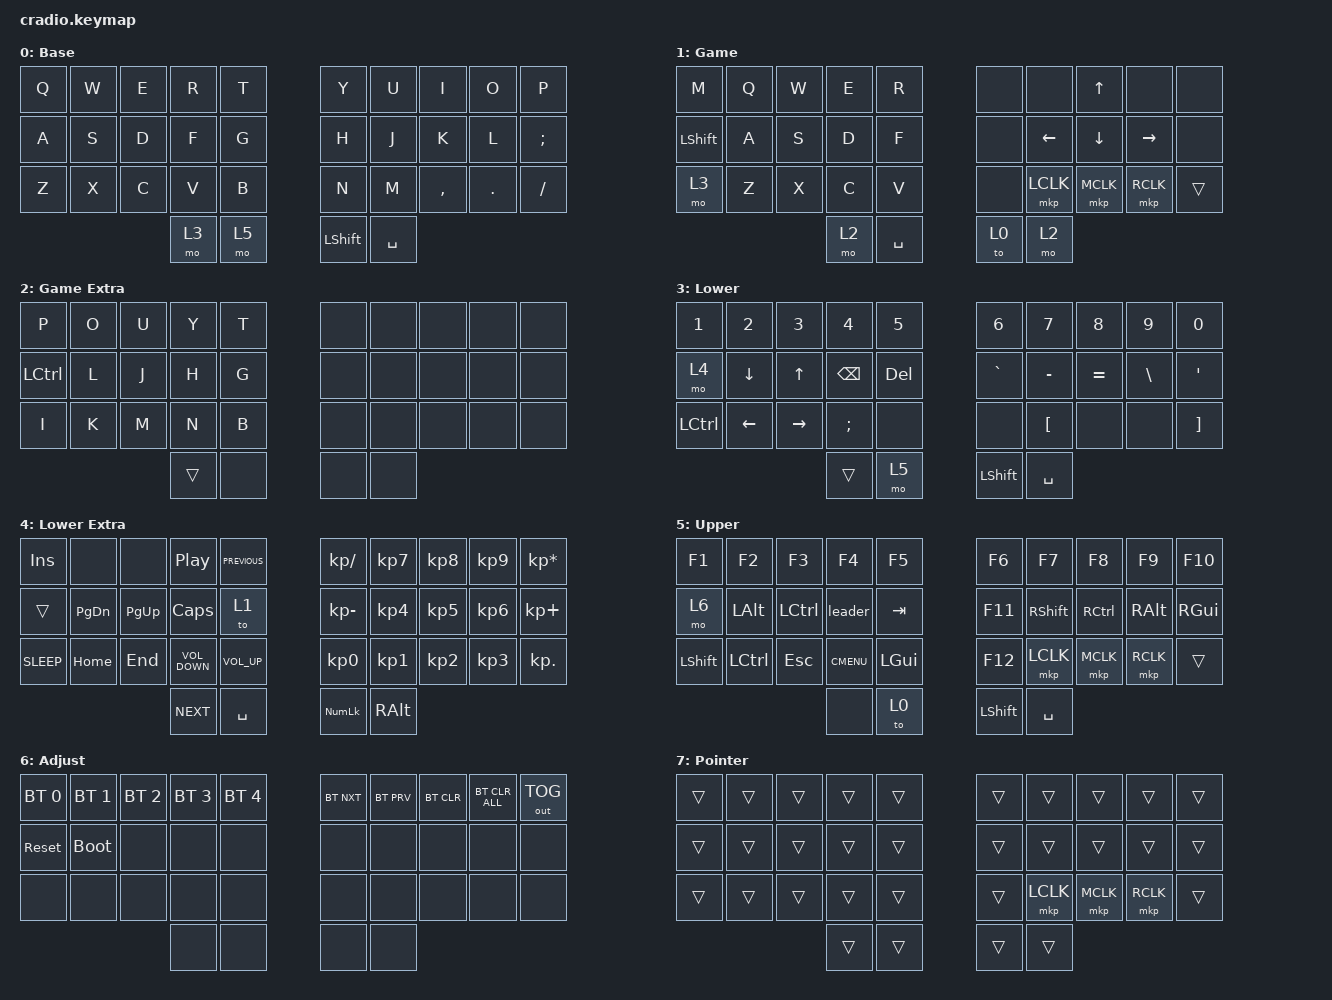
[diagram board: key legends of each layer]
// Copyright (c) 2022 The ZMK Contributors
// SPDX-License-Identifier: MIT
// Адаптировано под Charybdis (перенос с QMK keymap.c)
// + Leader Key

#include <behaviors.dtsi>
#include <dt-bindings/zmk/keys.h>
#include <dt-bindings/zmk/bt.h>
#include <dt-bindings/zmk/outputs.h>
#include <dt-bindings/zmk/pointing.h>

/ {
    // ==========================================================
    // МАКРОСЫ (для Leader Key)
    // ==========================================================
    macros {
        // Leader, V => Ctrl+C, Alt+Tab, Enter, Ctrl+V, Alt+Tab
        macro_copy_paste: macro_copy_paste {
            compatible = "zmk,behavior-macro";
            #binding-cells = <0>;
            bindings = <
                &kp LCTRL &kp C
                &kp LALT &kp TAB
                &kp ENTER
                &kp LCTRL &kp V
                &kp LALT &kp TAB
            >;
        };

        // Leader, D => Ctrl+S, Enter, Ctrl+W
        macro_save_close: macro_save_close {
            compatible = "zmk,behavior-macro";
            #binding-cells = <0>;
            bindings = <
                &kp LCTRL &kp S
                &kp ENTER
                &kp LCTRL &kp W
            >;
        };

        // Leader, S => Win+Space
        macro_lang_swap: macro_lang_swap {
            compatible = "zmk,behavior-macro";
            #binding-cells = <0>;
            bindings = <&kp LGUI &kp SPACE>;
        };
    };

    // ==========================================================
    // КОМБО
    // ==========================================================
    combos {
        compatible = "zmk,combos";

        // Цифры на LOWER (слой 3)
        combo_6 {
            timeout-ms = <50>;
            key-positions = <1 3>;
            layers = <3>;
            bindings = <&kp N6>;
        };
        combo_7 {
            timeout-ms = <50>;
            key-positions = <2 4>;
            layers = <3>;
            bindings = <&kp N7>;
        };
        combo_8 {
            timeout-ms = <50>;
            key-positions = <1 2>;
            layers = <3>;
            bindings = <&kp N8>;
        };
        combo_9 {
            timeout-ms = <50>;
            key-positions = <3 4>;
            layers = <3>;
            bindings = <&kp N9>;
        };
        combo_0 {
            timeout-ms = <50>;
            key-positions = <0 4>;
            layers = <3>;
            bindings = <&kp N0>;
        };

        // F-клавиши на UPPER (слой 5)
        combo_f6 {
            timeout-ms = <50>;
            key-positions = <1 3>;
            layers = <5>;
            bindings = <&kp F6>;
        };
        combo_f7 {
            timeout-ms = <50>;
            key-positions = <2 4>;
            layers = <5>;
            bindings = <&kp F7>;
        };
        combo_f8 {
            timeout-ms = <50>;
            key-positions = <1 2>;
            layers = <5>;
            bindings = <&kp F8>;
        };
        combo_f9 {
            timeout-ms = <50>;
            key-positions = <3 4>;
            layers = <5>;
            bindings = <&kp F9>;
        };
        combo_f10 {
            timeout-ms = <50>;
            key-positions = <0 4>;
            layers = <5>;
            bindings = <&kp F10>;
        };
        combo_f11 {
            timeout-ms = <50>;
            key-positions = <0 2>;
            layers = <5>;
            bindings = <&kp F11>;
        };
        combo_f12 {
            timeout-ms = <50>;
            key-positions = <0 1>;
            layers = <5>;
            bindings = <&kp F12>;
        };

        // Быстрый ADJUST на BASE (слой 0)
        combo_to_adjust {
            timeout-ms = <50>;
            key-positions = <33 34>;
            layers = <0>;
            bindings = <&mo 6>;
        };
    };

    // ==========================================================
    // KEYMAP
    // ==========================================================
    keymap {
        compatible = "zmk,keymap";

        base {
            display-name = "Base";
            bindings = <
                &kp Q  &kp W  &kp E  &kp R  &kp T    &kp Y  &kp U  &kp I  &kp O  &kp P
                &kp A  &kp S  &kp D  &kp F  &kp G    &kp H  &kp J  &kp K  &kp L  &kp SEMICOLON
                &kp Z  &kp X  &kp C  &kp V  &kp B    &kp N  &kp M  &kp COMMA  &kp DOT  &kp SLASH
                              &mo 3  &mo 5    &kp LSHFT  &kp SPACE
            >;
        };

        game {
            display-name = "Game";
            bindings = <
                &kp M  &kp Q  &kp W  &kp E  &kp R    &none  &none  &kp UP  &none  &none
                &kp LSHFT  &kp A  &kp S  &kp D  &kp F    &none  &kp LEFT  &kp DOWN  &kp RIGHT  &none
                &mo 3  &kp Z  &kp X  &kp C  &kp V    &none  &mkp LCLK  &mkp MCLK  &mkp RCLK  &trans
                              &mo 2  &kp SPACE    &to 0  &mo 2
            >;
        };

        game_extra {
            display-name = "Game Extra";
            bindings = <
                &kp P  &kp O  &kp U  &kp Y  &kp T    &none  &none  &none  &none  &none
                &kp LCTRL  &kp L  &kp J  &kp H  &kp G    &none  &none  &none  &none  &none
                &kp I  &kp K  &kp M  &kp N  &kp B    &none  &none  &none  &none  &none
                              &trans  &none    &none  &none
            >;
        };

        lower {
            display-name = "Lower";
            bindings = <
                &kp N1  &kp N2  &kp N3  &kp N4  &kp N5    &kp N6  &kp N7  &kp N8  &kp N9  &kp N0
                &mo 4  &kp DOWN  &kp UP  &kp BACKSPACE  &kp DELETE    &kp GRAVE  &kp MINUS  &kp EQUAL  &kp BACKSLASH  &kp SINGLE_QUOTE
                &kp LCTRL  &kp LEFT  &kp RIGHT  &kp SEMICOLON  &none    &none  &kp LBKT  &none  &none  &kp RBKT
                              &trans  &mo 5    &kp LSHFT  &kp SPACE
            >;
        };

        lower_extra {
            display-name = "Lower Extra";
            bindings = <
                &kp INSERT  &none  &none  &kp C_PLAY_PAUSE  &kp C_PREVIOUS    &kp KP_SLASH  &kp KP_N7  &kp KP_N8  &kp KP_N9  &kp KP_ASTERISK
                &trans  &kp PAGE_DOWN  &kp PAGE_UP  &kp CAPSLOCK  &to 1    &kp KP_MINUS  &kp KP_N4  &kp KP_N5  &kp KP_N6  &kp KP_PLUS
                &kp C_SLEEP  &kp HOME  &kp END  &kp C_VOLUME_DOWN  &kp C_VOLUME_UP    &kp KP_N0  &kp KP_N1  &kp KP_N2  &kp KP_N3  &kp KP_DOT
                              &kp C_NEXT  &kp SPACE    &kp KP_NUM  &kp RIGHT_ALT
            >;
        };

        upper {
            display-name = "Upper";
            bindings = <
                &kp F1  &kp F2  &kp F3  &kp F4  &kp F5    &kp F6  &kp F7  &kp F8  &kp F9  &kp F10
                &mo 6  &kp LEFT_ALT  &kp LEFT_CONTROL  &leader  &kp TAB    &kp F11  &kp RIGHT_SHIFT  &kp RIGHT_CONTROL  &kp RIGHT_ALT  &kp RIGHT_GUI
                &kp LSHFT  &kp LCTRL  &kp ESCAPE  &kp K_CMENU  &kp LEFT_GUI    &kp F12  &mkp LCLK  &mkp MCLK  &mkp RCLK  &trans
                              &none  &to 0    &kp LSHFT  &kp SPACE
            >;
        };

        adjust {
            display-name = "Adjust";
            bindings = <
                &bt BT_SEL 0  &bt BT_SEL 1  &bt BT_SEL 2  &bt BT_SEL 3  &bt BT_SEL 4    &bt BT_NXT  &bt BT_PRV  &bt BT_CLR  &bt BT_CLR_ALL  &out OUT_TOG
                &sys_reset  &bootloader  &none  &none  &none    &none  &none  &none  &none  &none
                &none  &none  &none  &none  &none    &none  &none  &none  &none  &none
                              &none  &none    &none  &none
            >;
        };

        pointer {
            display-name = "Pointer";
            bindings = <
                &trans  &trans  &trans  &trans  &trans    &trans  &trans  &trans  &trans  &trans
                &trans  &trans  &trans  &trans  &trans    &trans  &trans  &trans  &trans  &trans
                &trans  &trans  &trans  &trans  &trans    &trans  &mkp LCLK  &mkp MCLK  &mkp RCLK  &trans
                              &trans  &trans    &trans  &trans
            >;
        };
    };
};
